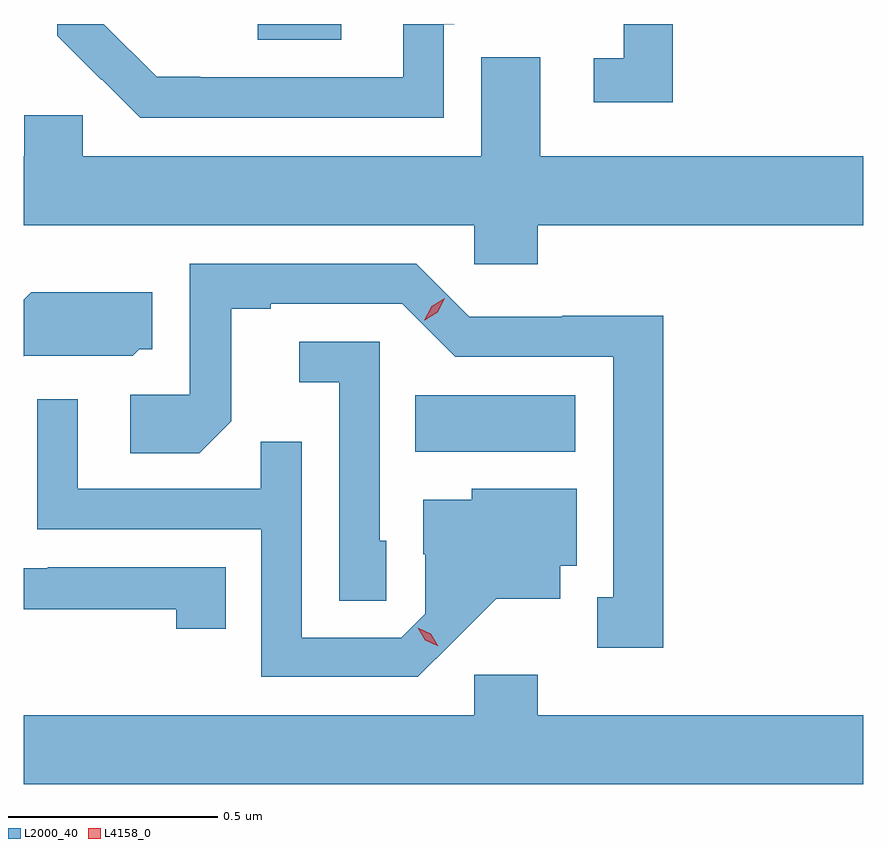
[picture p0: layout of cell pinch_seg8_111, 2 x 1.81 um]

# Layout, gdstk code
import gdstk
lib = gdstk.Library(unit=1e-6, precision=1e-09)
def R(c, l, rs):  # rectangles x0, y0, x1, y1
    for r in rs: c.add(gdstk.rectangle(r[:2], r[2:], *l))
def P(c, l, *ps):  # polygons
    for p in ps: c.add(gdstk.Polygon(p, *l))
L2000_40 = (2000, 40)
L4158_0 = (4158, 0)

pinch_seg8_111 = lib.new_cell('pinch_seg8_111')
R(pinch_seg8_111, L2000_40, [(1026.034,1087.988,1026.415,1088.122), (1025.658,1088.97,1025.857,1089.007)])
P(pinch_seg8_111, L2000_40, [(1026.647,1089.007),(1026.531,1089.007),(1026.531,1088.925),(1026.459,1088.925),(1026.459,1088.82),(1026.647,1088.82)],
  [(1026.102,1089.006),(1026.127,1089.006),(1026.127,1089.007),(1026.005,1089.007),(1026.005,1088.88),(1025.521,1088.88),(1025.521,1088.881),(1025.418,1088.881),(1025.291,1089.007),(1025.181,1089.007),(1025.181,1088.979),(1025.286,1088.874),(1025.287,1088.875),(1025.378,1088.784),(1026.102,1088.784)],
  [(1026.326,1088.528),(1027.101,1088.528),(1027.101,1088.692),(1026.331,1088.692),(1026.331,1088.928),(1026.191,1088.928),(1026.191,1088.692),(1025.241,1088.692),(1025.241,1088.79),(1025.102,1088.79),(1025.102,1088.692),(1025.101,1088.692),(1025.101,1088.528),(1026.174,1088.528),(1026.174,1088.435),(1026.326,1088.435)],
  [(1026.625,1088.312),(1026.384,1088.312),(1026.384,1088.31),(1026.162,1088.31),(1026.036,1088.436),(1025.496,1088.436),(1025.496,1088.124),(1025.355,1088.124),(1025.355,1087.984),(1025.519,1087.984),(1025.595,1088.06),(1025.595,1088.328),(1025.689,1088.328),(1025.689,1088.34),(1026.003,1088.34),(1026.129,1088.214),(1026.506,1088.214),(1026.506,1087.641),(1026.467,1087.641),(1026.467,1087.521),(1026.625,1087.521)],
  [(1025.103,1088.217),(1025.226,1088.217),(1025.226,1088.216),(1025.36,1088.216),(1025.376,1088.232),(1025.407,1088.232),(1025.407,1088.368),(1025.119,1088.368),(1025.101,1088.35),(1025.101,1088.215)],
  [(1025.964,1087.776),(1025.949,1087.776),(1025.949,1088.25),(1025.757,1088.25),(1025.757,1088.153),(1025.853,1088.153),(1025.853,1087.633),(1025.964,1087.633)],
  [(1026.124,1087.535),(1026.227,1087.637),(1026.379,1087.637),(1026.379,1087.716),(1026.418,1087.716),(1026.418,1087.9),(1026.168,1087.9),(1026.168,1087.873),(1026.053,1087.873),(1026.053,1087.744),(1026.057,1087.744),(1026.057,1087.602),(1026,1087.545),(1025.763,1087.545),(1025.763,1088.012),(1025.665,1088.012),(1025.665,1087.899),(1025.229,1087.899),(1025.229,1088.113),(1025.133,1088.113),(1025.133,1087.803),(1025.667,1087.803),(1025.667,1087.452),(1026.04,1087.452)],
  [(1025.582,1087.713),(1025.158,1087.713),(1025.158,1087.71),(1025.101,1087.71),(1025.101,1087.613),(1025.107,1087.613),(1025.107,1087.612),(1025.464,1087.612),(1025.464,1087.566),(1025.582,1087.566)],
  [(1027.101,1087.36),(1026.326,1087.36),(1026.326,1087.456),(1026.174,1087.456),(1026.174,1087.36),(1025.101,1087.36),(1025.101,1087.196),(1027.101,1087.196)])
P(pinch_seg8_111, L4158_0, [(1026.055,1088.301),(1026.055,1088.301),(1026.073,1088.334),(1026.104,1088.353),(1026.104,1088.353),(1026.104,1088.353),(1026.087,1088.32),(1026.056,1088.301)],
  [(1026.088,1087.524),(1026.058,1087.539),(1026.04,1087.568),(1026.04,1087.568),(1026.04,1087.568),(1026.071,1087.554),(1026.089,1087.524),(1026.089,1087.524)])

lib.write_gds('pinch_seg8_111.gds')
